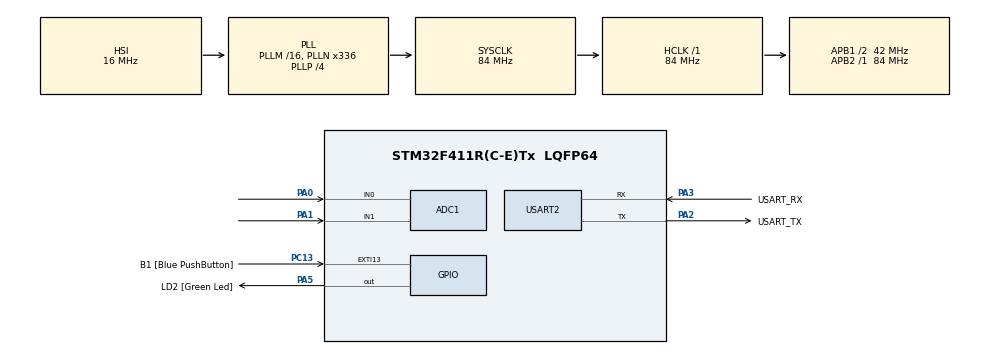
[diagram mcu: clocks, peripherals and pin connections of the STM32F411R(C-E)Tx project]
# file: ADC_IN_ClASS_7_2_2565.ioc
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ADC1.Channel-0\#ChannelRegularConversion=ADC_CHANNEL_0
ADC1.NbrOfConversionFlag=1
ADC1.Rank-0\#ChannelRegularConversion=1
ADC1.SamplingTime-0\#ChannelRegularConversion=ADC_SAMPLETIME_3CYCLES
ADC1.master=1
Mcu.Family=STM32F4
Mcu.Name=STM32F411R(C-E)Tx
Mcu.Package=LQFP64
NVIC.PriorityGroup=NVIC_PRIORITYGROUP_0
PA0-WKUP.Signal=ADCx_IN0
PA1.Signal=ADCx_IN1
PA13.GPIO_Label=TMS
PA13.Mode=Serial_Wire
PA13.Signal=SYS_JTMS-SWDIO
PA14.GPIO_Label=TCK
PA14.Mode=Serial_Wire
PA14.Signal=SYS_JTCK-SWCLK
PA2.GPIO_Label=USART_TX
PA2.Mode=Asynchronous
PA2.Signal=USART2_TX
PA3.GPIO_Label=USART_RX
PA3.Mode=Asynchronous
PA3.Signal=USART2_RX
PA5.GPIO_Label=LD2 [Green Led]
PA5.Signal=GPIO_Output
PB3.GPIO_Label=SWO
PB3.Signal=SYS_JTDO-SWO
PC13-ANTI_TAMP.GPIO_Label=B1 [Blue PushButton]
PC13-ANTI_TAMP.GPIO_ModeDefaultEXTI=GPIO_MODE_IT_FALLING
PC13-ANTI_TAMP.Signal=GPXTI13
PC14-OSC32_IN.Mode=LSE-External-Oscillator
PC14-OSC32_IN.Signal=RCC_OSC32_IN
PC15-OSC32_OUT.Mode=LSE-External-Oscillator
PC15-OSC32_OUT.Signal=RCC_OSC32_OUT
PH0\ -\ OSC_IN.Mode=HSE-External-Clock-Source
PH0\ -\ OSC_IN.Signal=RCC_OSC_IN
PH1\ -\ OSC_OUT.Mode=HSE-External-Clock-Source
PH1\ -\ OSC_OUT.Signal=RCC_OSC_OUT
ProjectManager.HeapSize=0x200
ProjectManager.StackSize=0x400
ProjectManager.TargetToolchain=STM32CubeIDE
RCC.48MHZClocksFreq_Value=84000000
RCC.AHBFreq_Value=84000000
RCC.APB1CLKDivider=RCC_HCLK_DIV2
RCC.APB1Freq_Value=42000000
RCC.APB1TimFreq_Value=84000000
RCC.APB2Freq_Value=84000000
RCC.APB2TimFreq_Value=84000000
RCC.CortexFreq_Value=84000000
RCC.FLatency-AdvancedSettings=FLASH_LATENCY_2
RCC.HCLKFreq_Value=84000000
RCC.HSE_VALUE=8000000
RCC.HSI_VALUE=16000000
RCC.PLLN=336
RCC.PLLP=RCC_PLLP_DIV4
RCC.SYSCLKFreq_VALUE=84000000
RCC.SYSCLKSource=RCC_SYSCLKSOURCE_PLLCLK
RCC.VCOOutputFreq_Value=336000000
SH.ADCx_IN0.0=ADC1_IN0,IN0
SH.ADCx_IN1.0=ADC1_IN1,IN1
USART2.VirtualMode=VM_ASYNC
VP_ADC1_TempSens_Input.Mode=IN-TempSens
board=NUCLEO-F411RE

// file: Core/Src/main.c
/* USER CODE BEGIN Header */
/**
  ******************************************************************************
  * @file           : main.c
  * @brief          : Main program body
  ******************************************************************************
  * @attention
  *
  * Copyright (c) 2022 STMicroelectronics.
  * All rights reserved.
  *
  * This software is licensed under terms that can be found in the LICENSE file
  * in the root directory of this software component.
  * If no LICENSE file comes with this software, it is provided AS-IS.
  *
  ******************************************************************************
  */
/* USER CODE END Header */
#include "main.h"

ADC_HandleTypeDef hadc1;

UART_HandleTypeDef huart2;

/* USER CODE BEGIN PV */
typedef struct{
	ADC_ChannelConfTypeDef Config;
	uint16_t data;
}ADCStructure;

ADCStructure ADCChannel[3];
/* USER CODE END PV */

void SystemClock_Config(void);
static void MX_GPIO_Init(void);
static void MX_USART2_UART_Init(void);
static void MX_ADC1_Init(void);
/* USER CODE BEGIN PFP */
void ADCPollingMethodUpdate();
/* USER CODE END PFP */

int main(void)
{

  /* MCU Configuration--------------------------------------------------------*/

  /* Reset of all peripherals, Initializes the Flash interface and the Systick. */
  HAL_Init();

  /* Configure the system clock */
  SystemClock_Config();

  /* Initialize all configured peripherals */
  MX_GPIO_Init();
  MX_USART2_UART_Init();
  MX_ADC1_Init();
  /* USER CODE BEGIN 2 */
  ADCConfigInit();
  /* USER CODE END 2 */

  /* Infinite loop */
  while (1)
  {

    /* USER CODE BEGIN 3 */
	  // function call ADC
	  ADCPollingMethodUpdate();
  }
  /* USER CODE END 3 */
}

void SystemClock_Config(void)
{
  RCC_OscInitTypeDef RCC_OscInitStruct = {0};
  RCC_ClkInitTypeDef RCC_ClkInitStruct = {0};

  /** Configure the main internal regulator output voltage
  */
  __HAL_RCC_PWR_CLK_ENABLE();
  __HAL_PWR_VOLTAGESCALING_CONFIG(PWR_REGULATOR_VOLTAGE_SCALE1);
  /** Initializes the RCC Oscillators according to the specified parameters
  * in the RCC_OscInitTypeDef structure.
  */
  RCC_OscInitStruct.OscillatorType = RCC_OSCILLATORTYPE_HSI;
  RCC_OscInitStruct.HSIState = RCC_HSI_ON;
  RCC_OscInitStruct.HSICalibrationValue = RCC_HSICALIBRATION_DEFAULT;
  RCC_OscInitStruct.PLL.PLLState = RCC_PLL_ON;
  RCC_OscInitStruct.PLL.PLLSource = RCC_PLLSOURCE_HSI;
  RCC_OscInitStruct.PLL.PLLM = 16;
  RCC_OscInitStruct.PLL.PLLN = 336;
  RCC_OscInitStruct.PLL.PLLP = RCC_PLLP_DIV4;
  RCC_OscInitStruct.PLL.PLLQ = 4;
  if (HAL_RCC_OscConfig(&RCC_OscInitStruct) != HAL_OK)
  {
    Error_Handler();
  }
  /** Initializes the CPU, AHB and APB buses clocks
  */
  RCC_ClkInitStruct.ClockType = RCC_CLOCKTYPE_HCLK|RCC_CLOCKTYPE_SYSCLK
                              |RCC_CLOCKTYPE_PCLK1|RCC_CLOCKTYPE_PCLK2;
  RCC_ClkInitStruct.SYSCLKSource = RCC_SYSCLKSOURCE_PLLCLK;
  RCC_ClkInitStruct.AHBCLKDivider = RCC_SYSCLK_DIV1;
  RCC_ClkInitStruct.APB1CLKDivider = RCC_HCLK_DIV2;
  RCC_ClkInitStruct.APB2CLKDivider = RCC_HCLK_DIV1;

  if (HAL_RCC_ClockConfig(&RCC_ClkInitStruct, FLASH_LATENCY_2) != HAL_OK)
  {
    Error_Handler();
  }
}

static void MX_ADC1_Init(void)
{

  ADC_ChannelConfTypeDef sConfig = {0};

  /** Configure the global features of the ADC (Clock, Resolution, Data Alignment and number of conversion)
  */
  hadc1.Instance = ADC1;
  hadc1.Init.ClockPrescaler = ADC_CLOCK_SYNC_PCLK_DIV4;
  hadc1.Init.Resolution = ADC_RESOLUTION_12B;
  hadc1.Init.ScanConvMode = DISABLE;
  hadc1.Init.ContinuousConvMode = DISABLE;
  hadc1.Init.DiscontinuousConvMode = DISABLE;
  hadc1.Init.ExternalTrigConvEdge = ADC_EXTERNALTRIGCONVEDGE_NONE;
  hadc1.Init.ExternalTrigConv = ADC_SOFTWARE_START;
  hadc1.Init.DataAlign = ADC_DATAALIGN_RIGHT;
  hadc1.Init.NbrOfConversion = 1;
  hadc1.Init.DMAContinuousRequests = DISABLE;
  hadc1.Init.EOCSelection = ADC_EOC_SINGLE_CONV;
  if (HAL_ADC_Init(&hadc1) != HAL_OK)
  {
    Error_Handler();
  }
  /** Configure for the selected ADC regular channel its corresponding rank in the sequencer and its sample time.
  */
  sConfig.Channel = ADC_CHANNEL_0;
  sConfig.Rank = 1;
  sConfig.SamplingTime = ADC_SAMPLETIME_3CYCLES;
  if (HAL_ADC_ConfigChannel(&hadc1, &sConfig) != HAL_OK)
  {
    Error_Handler();
  }

}

static void MX_USART2_UART_Init(void)
{

  huart2.Instance = USART2;
  huart2.Init.BaudRate = 115200;
  huart2.Init.WordLength = UART_WORDLENGTH_8B;
  huart2.Init.StopBits = UART_STOPBITS_1;
  huart2.Init.Parity = UART_PARITY_NONE;
  huart2.Init.Mode = UART_MODE_TX_RX;
  huart2.Init.HwFlowCtl = UART_HWCONTROL_NONE;
  huart2.Init.OverSampling = UART_OVERSAMPLING_16;
  if (HAL_UART_Init(&huart2) != HAL_OK)
  {
    Error_Handler();
  }

}

static void MX_GPIO_Init(void)
{
  GPIO_InitTypeDef GPIO_InitStruct = {0};

  /* GPIO Ports Clock Enable */
  __HAL_RCC_GPIOC_CLK_ENABLE();
  __HAL_RCC_GPIOH_CLK_ENABLE();
  __HAL_RCC_GPIOA_CLK_ENABLE();
  __HAL_RCC_GPIOB_CLK_ENABLE();

  /*Configure GPIO pin Output Level */
  HAL_GPIO_WritePin(LD2_GPIO_Port, LD2_Pin, GPIO_PIN_RESET);

  /*Configure GPIO pin : B1_Pin */
  GPIO_InitStruct.Pin = B1_Pin;
  GPIO_InitStruct.Mode = GPIO_MODE_IT_FALLING;
  GPIO_InitStruct.Pull = GPIO_NOPULL;
  HAL_GPIO_Init(B1_GPIO_Port, &GPIO_InitStruct);

  /*Configure GPIO pin : LD2_Pin */
  GPIO_InitStruct.Pin = LD2_Pin;
  GPIO_InitStruct.Mode = GPIO_MODE_OUTPUT_PP;
  GPIO_InitStruct.Pull = GPIO_NOPULL;
  GPIO_InitStruct.Speed = GPIO_SPEED_FREQ_LOW;
  HAL_GPIO_Init(LD2_GPIO_Port, &GPIO_InitStruct);

}

/* USER CODE BEGIN 4 */

void ADCConfigInit(){
	//Config ADC Channel PA0
	ADCChannel[0].Config.Channel = ADC_CHANNEL_0;
	ADCChannel[0].Config.Rank = 1;
	ADCChannel[0].Config.SamplingTime = ADC_SAMPLETIME_3CYCLES;
	//Config ADC Channel PA1
	ADCChannel[1].Config.Channel = ADC_CHANNEL_1;
	ADCChannel[1].Config.Rank = 1;
	ADCChannel[1].Config.SamplingTime = ADC_SAMPLETIME_3CYCLES;
	//Config ADC Channel TEMP
	ADCChannel[2].Config.Channel = ADC_CHANNEL_TEMPSENSOR;
	ADCChannel[2].Config.Rank = 1;
	ADCChannel[2].Config.SamplingTime = ADC_SAMPLETIME_3CYCLES;
}

//uint16_t ADCDataRaw = 0;
void ADCPollingMethodUpdate(){
//	static ADC_ChannelConfTypeDef sConfig;
//	sConfig.Channel = ADC_CHANNEL_0;
//	sConfig.Rank = 1;						// เ�?�?�?อ�?า�?�?�?อมูลทั�?�?�?�?�?�?ดยเรีย�?ลำดั�?�?ารอ�?า�?�?�?อมูล�?�? 16 peripherals ที�? module อ�?า�?�?ด�?�?�?�?ตัวเดียว
//	sConfig.SamplingTime = ADC_SAMPLETIME_3CYCLES;

	for(int i=0;i<3;i++){
		// setting channel of ADC
		HAL_ADC_ConfigChannel(&hadc1, &ADCChannel[i].Config);

		//start Sampling
		HAL_ADC_Start(&hadc1);

		//Wait for sampling and conversion
		if(HAL_ADC_PollForConversion(&hadc1, 10) == HAL_OK){ // hold รอ convert �?า�? parameter ด�?วย timeout 10ms
			//Read data
			ADCChannel[i].data = HAL_ADC_GetValue(&hadc1);
		}
		//stop ADC
		HAL_ADC_Stop(&hadc1);
	}

}
/* USER CODE END 4 */

void Error_Handler(void)
{
  __disable_irq();
  while (1)
  {
  }
}
